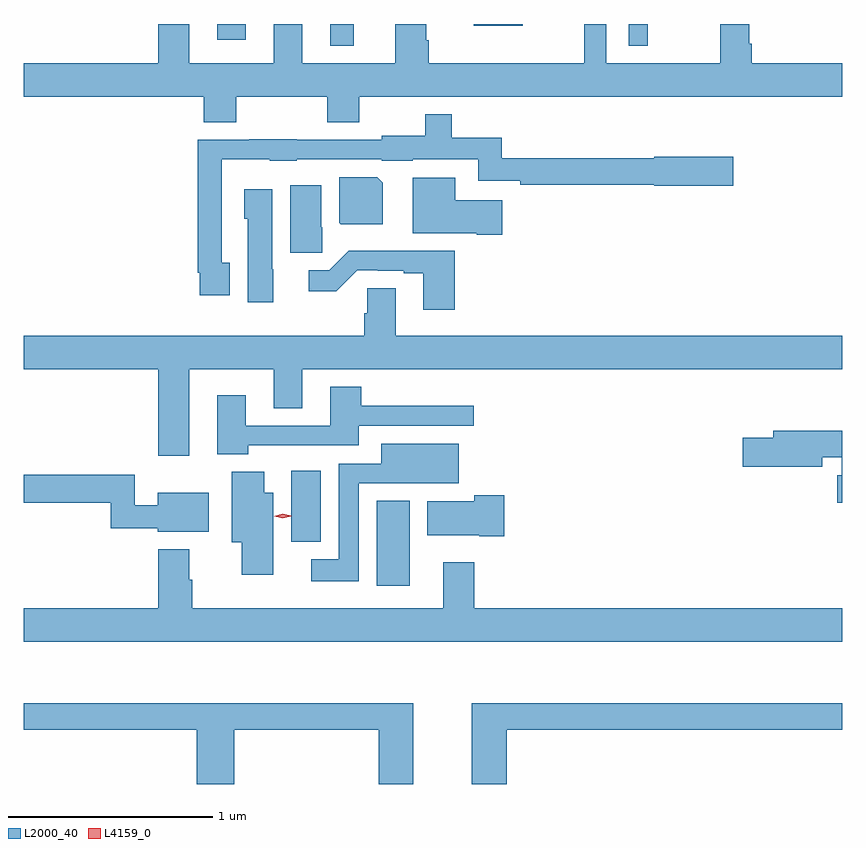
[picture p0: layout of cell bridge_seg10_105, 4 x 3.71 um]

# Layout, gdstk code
import gdstk
lib = gdstk.Library(unit=1e-6, precision=1e-09)
def R(c, l, rs):  # rectangles x0, y0, x1, y1
    for r in rs: c.add(gdstk.rectangle(r[:2], r[2:], *l))
def P(c, l, *ps):  # polygons
    for p in ps: c.add(gdstk.Polygon(p, *l))
L2000_40 = (2000, 40)
L4159_0 = (4159, 0)

bridge_seg10_105 = lib.new_cell('bridge_seg10_105')
R(bridge_seg10_105, L2000_40, [(479.009,1291.266,479.17,1291.681), (478.592,1291.481,478.735,1291.828), (480.24,1293.905,480.333,1294.012), (478.781,1293.906,478.897,1294.012), (478.229,1293.936,478.369,1294.012), (479.482,1294.004,479.722,1294.012)])
P(bridge_seg10_105, L2000_40, [(478.323,1293.656),(478.768,1293.656),(478.768,1293.532),(478.923,1293.532),(478.923,1293.656),(481.284,1293.656),(481.284,1293.82),(480.842,1293.82),(480.842,1293.916),(480.829,1293.916),(480.829,1294.012),(480.689,1294.012),(480.689,1293.82),(480.132,1293.82),(480.132,1294.012),(480.024,1294.012),(480.024,1293.82),(479.264,1293.82),(479.264,1293.933),(479.251,1293.933),(479.251,1294.012),(479.099,1294.012),(479.099,1293.82),(478.645,1293.82),(478.645,1294.012),(478.505,1294.012),(478.505,1293.82),(478.093,1293.82),(478.093,1294.012),(477.941,1294.012),(477.941,1293.82),(477.284,1293.82),(477.284,1293.656),(478.163,1293.656),(478.163,1293.532),(478.323,1293.532)],
  [(478.291,1292.846),(478.251,1292.846),(478.251,1293.35),(478.485,1293.35),(478.485,1293.344),(478.617,1293.344),(478.617,1293.351),(479.034,1293.351),(479.034,1293.344),(479.184,1293.344),(479.184,1293.35),(479.505,1293.35),(479.505,1293.246),(479.71,1293.246),(479.71,1293.226),(480.366,1293.226),(480.366,1293.221),(480.751,1293.221),(480.751,1293.363),(480.366,1293.363),(480.366,1293.355),(479.621,1293.355),(479.621,1293.455),(479.375,1293.455),(479.375,1293.571),(479.247,1293.571),(479.247,1293.466),(479.034,1293.466),(479.034,1293.447),(478.617,1293.447),(478.617,1293.449),(478.385,1293.449),(478.385,1293.447),(478.135,1293.447),(478.135,1292.797),(478.143,1292.797),(478.143,1292.685),(478.291,1292.685)],
  [(479.038,1293.236),(479.012,1293.262),(478.826,1293.262),(478.826,1293.04),(478.834,1293.032),(479.038,1293.032)],
  [(479.623,1293.151),(479.392,1293.151),(479.392,1293.26),(479.186,1293.26),(479.186,1292.99),(479.499,1292.99),(479.499,1292.981),(479.623,1292.981)],
  [(478.742,1293.018),(478.738,1293.018),(478.738,1293.223),(478.586,1293.223),(478.586,1292.895),(478.742,1292.895)],
  [(478.504,1292.814),(478.498,1292.814),(478.498,1293.205),(478.361,1293.205),(478.361,1293.06),(478.379,1293.06),(478.379,1292.652),(478.504,1292.652)],
  [(479.39,1292.903),(478.871,1292.903),(478.776,1292.808),(478.677,1292.808),(478.677,1292.706),(478.812,1292.706),(478.914,1292.808),(479.014,1292.808),(479.014,1292.805),(479.141,1292.805),(479.141,1292.793),(479.237,1292.793),(479.237,1292.616),(479.39,1292.616)],
  [(478.093,1292.324),(478.505,1292.324),(478.505,1292.134),(478.645,1292.134),(478.645,1292.324),(481.284,1292.324),(481.284,1292.488),(479.101,1292.488),(479.101,1292.72),(478.962,1292.72),(478.962,1292.598),(478.949,1292.598),(478.949,1292.488),(477.284,1292.488),(477.284,1292.324),(477.941,1292.324),(477.941,1291.902),(478.093,1291.902)],
  [(478.382,1291.953),(478.921,1291.953),(478.921,1292.049),(479.482,1292.049),(479.482,1292.146),(478.934,1292.146),(478.934,1292.239),(478.781,1292.239),(478.781,1292.049),(478.369,1292.049),(478.369,1292.197),(478.229,1292.197),(478.229,1291.909),(478.382,1291.909)],
  [(481.284,1292.023),(480.947,1292.023),(480.947,1291.989),(480.798,1291.989),(480.798,1291.847),(481.186,1291.847),(481.186,1291.894),(481.281,1291.894),(481.281,1291.806),(481.261,1291.806),(481.261,1291.672),(481.284,1291.672)],
  [(478.92,1291.767),(479.166,1291.767),(479.166,1291.766),(479.41,1291.766),(479.41,1291.96),(479.03,1291.96),(479.03,1291.863),(478.824,1291.863),(478.824,1291.396),(478.689,1291.396),(478.689,1291.289),(478.92,1291.289)],
  [(478.504,1291.72),(478.459,1291.72),(478.459,1291.824),(478.301,1291.824),(478.301,1291.478),(478.349,1291.478),(478.349,1291.32),(478.504,1291.32)],
  [(478.189,1291.72),(477.938,1291.72),(477.938,1291.659),(477.825,1291.659),(477.825,1291.808),(477.284,1291.808),(477.284,1291.672),(477.709,1291.672),(477.709,1291.548),(477.938,1291.548),(477.938,1291.529),(478.189,1291.529)],
  [(479.632,1291.708),(479.485,1291.708),(479.485,1291.678),(479.255,1291.678),(479.255,1291.514),(479.51,1291.514),(479.51,1291.507),(479.632,1291.507)],
  [(481.284,1291.156),(479.486,1291.156),(479.486,1291.381),(479.333,1291.381),(479.333,1291.156),(478.106,1291.156),(478.106,1291.295),(478.093,1291.295),(478.093,1291.444),(477.941,1291.444),(477.941,1291.156),(477.284,1291.156),(477.284,1290.992),(481.284,1290.992)],
  [(479.645,1290.562),(481.284,1290.562),(481.284,1290.691),(479.474,1290.691),(479.474,1290.297),(479.645,1290.297)],
  [(478.313,1290.562),(479.018,1290.562),(479.018,1290.297),(479.188,1290.297),(479.188,1290.691),(477.284,1290.691),(477.284,1290.562),(478.13,1290.562),(478.13,1290.297),(478.313,1290.297)])
P(bridge_seg10_105, L4159_0, [(478.549,1291.597),(478.509,1291.607),(478.508,1291.607),(478.509,1291.607),(478.549,1291.617),(478.59,1291.608),(478.59,1291.608),(478.59,1291.607)])

lib.write_gds('bridge_seg10_105.gds')
